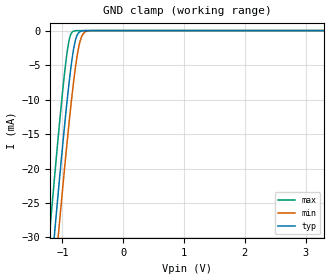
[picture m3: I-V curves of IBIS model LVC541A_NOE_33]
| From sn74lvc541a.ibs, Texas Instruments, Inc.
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[Model]   LVC541A_NOE_33
Model_type  Input
Vinl=0.8
Vinh=2.0
| variable   typ   min   max
C_comp   3.29pF   2.82pF   4.58pF
[Temperature Range]   40   100   -40
| Ambient temperature   25   85   -40
[Voltage range]   3.3   3   3.6
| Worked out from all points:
|   GND clamp passes 1 mA (typ) near -0.77 V on its own axis
[GND Clamp]
| LVC541A_NOE_33
|   Voltage   I(typ)   I(min)   I(max)
-5V       -443mA     -448.4mA   -436.3mA
-1.21V    -37.44mA   -43.78mA   -29.29mA
-1.135V   -29.95mA   -36.3mA    -21.79mA
-1.115V   -27.98mA   -34.33mA   -19.83mA
-1.055V   -22.16mA   -28.48mA   -14.08mA
-915mV    -9.525mA   -15.47mA   -2.668mA
-870mV    -6.037mA   -11.62mA   -738.2uA
-815mV    -2.628mA   -7.333mA   -73.84uA
-765mV    -815.6uA   -4.067mA   -7.221uA
-710mV    -147.1uA   -1.578mA   -543.8nA
-585mV    -1.929uA   -60.17uA   -1.522nA
3.3V      9.498pA    15.54pA    9.116pA
